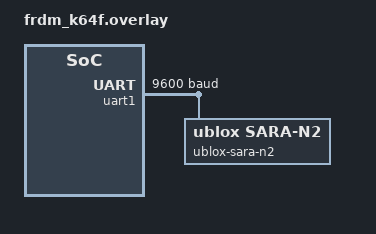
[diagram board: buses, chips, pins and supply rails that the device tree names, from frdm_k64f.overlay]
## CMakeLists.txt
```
# SPDX-License-Identifier: Apache-2.0

cmake_minimum_required(VERSION 3.13.1)

include($ENV{ZEPHYR_BASE}/cmake/app/boilerplate.cmake NO_POLICY_SCOPE)
project(cfb)

FILE(GLOB app_sources src/*.c)
target_sources(app PRIVATE ${app_sources})
```

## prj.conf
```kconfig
CONFIG_CONSOLE=y
CONFIG_STDOUT_CONSOLE=y
CONFIG_LOG=y
CONFIG_UART_MCUX_1=y

# Network configuration
CONFIG_NETWORKING=y
CONFIG_NET_LOG=y
CONFIG_NET_IPV4=y
CONFIG_NET_IPV6=n
CONFIG_NETWORKING=y
CONFIG_NET_UDP=y
CONFIG_NET_TCP=n
CONFIG_NET_SOCKETS=y
CONFIG_NET_SOCKETS_POSIX_NAMES=y
# might not need these
CONFIG_NET_IF_UNICAST_IPV4_ADDR_COUNT=3
CONFIG_NET_IF_MCAST_IPV4_ADDR_COUNT=2

# Modem configuration
CONFIG_MODEM=y
CONFIG_MODEM_RECEIVER=y
CONFIG_NET_OFFLOAD=y
CONFIG_MODEM_UBLOX_SARA_N2=y
CONFIG_MODEM_UBLOX_SARA_N2_APN="mda.ee"
CONFIG_MODEM_LOG_LEVEL_DBG=y
```

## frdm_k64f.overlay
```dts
/* SPDX-License-Identifier: Apache-2.0 */

&uart1 {
	current-speed = <9600>;
	status = "okay";

	sara_n2 {
		compatible = "ublox,sara-n2";
		label = "ublox-sara-n2";
		status = "okay";
	};
};
```

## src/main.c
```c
/*
 * Copyright (c) 2018 PHYTEC Messtechnik GmbH
 *
 * SPDX-License-Identifier: Apache-2.0
 */

#include <zephyr.h>
#include <device.h>
#include <stdio.h>

void main(void)
{
	printf("Starting modem sample\n");

	// TODO: Add socket code here.
	while (1)
	{
		k_sleep(100);
	}
}
```
